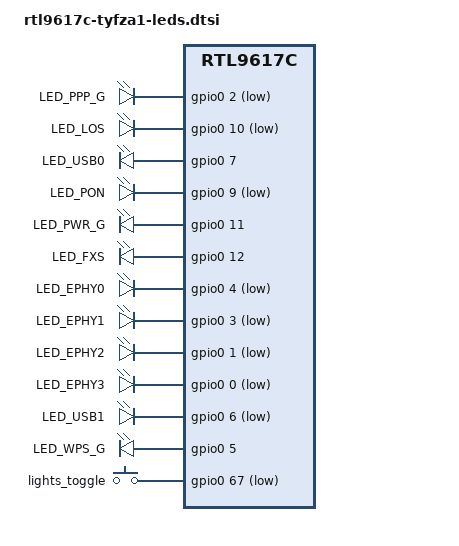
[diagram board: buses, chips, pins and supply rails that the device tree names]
// SPDX-License-Identifier: GPL-2.0-only
// Stock boot selects conf-1/fdt@1: f85b7a420a14fa31ece8a1e6f7e426f2a464587cf8ad19ce88932a4b7903d050.
#include <dt-bindings/input/input.h>
/ {
	aliases {
		led-boot = &led_power;
		led-failsafe = &led_power;
		led-running = &led_power;
		led-upgrade = &led_power;
		led-wps = &led_wps;
	};

	leds {
		compatible = "tianyi,tyfza1-leds";
		internet { label = "LED_PPP_G"; gpios = <&gpio0 2 GPIO_ACTIVE_LOW>; };
		los { label = "LED_LOS"; gpios = <&gpio0 10 GPIO_ACTIVE_LOW>; };
		usb0 { label = "LED_USB0"; gpios = <&gpio0 7 GPIO_ACTIVE_HIGH>; };
		pon { label = "LED_PON"; gpios = <&gpio0 9 GPIO_ACTIVE_LOW>; };
		led_power: power { label = "LED_PWR_G"; gpios = <&gpio0 11 GPIO_ACTIVE_HIGH>; default-state = "on"; };
		phone { label = "LED_FXS"; gpios = <&gpio0 12 GPIO_ACTIVE_HIGH>; };
		lan0 { label = "LED_EPHY0"; gpios = <&gpio0 4 GPIO_ACTIVE_LOW>; };
		lan1 { label = "LED_EPHY1"; gpios = <&gpio0 3 GPIO_ACTIVE_LOW>; };
		lan2 { label = "LED_EPHY2"; gpios = <&gpio0 1 GPIO_ACTIVE_LOW>; };
		lan3 { label = "LED_EPHY3"; gpios = <&gpio0 0 GPIO_ACTIVE_LOW>; };
		usb1 { label = "LED_USB1"; gpios = <&gpio0 6 GPIO_ACTIVE_LOW>; };
		led_wps: wps { label = "LED_WPS_G"; gpios = <&gpio0 5 GPIO_ACTIVE_HIGH>; };
	};

	led-button {
		compatible = "gpio-keys-polled";
		poll-interval = <20>;
		lights-toggle {
			label = "lights_toggle";
			linux,code = <KEY_LIGHTS_TOGGLE>;
			gpios = <&gpio0 67 GPIO_ACTIVE_LOW>;
			debounce-interval = <60>;
		};
	};
};
